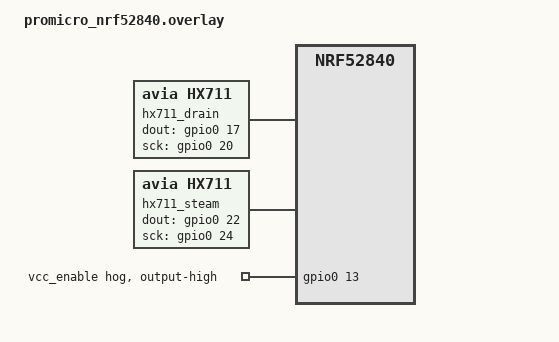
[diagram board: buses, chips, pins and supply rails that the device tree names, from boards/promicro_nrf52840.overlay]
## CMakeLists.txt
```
cmake_minimum_required(VERSION 3.20.0)

set(ZEPHYR_EXTRA_MODULES "${CMAKE_SOURCE_DIR}/modules/HX711")
find_package(Zephyr REQUIRED HINTS $ENV{ZEPHYR_BASE})

project(ncs-scale)

target_sources(app PRIVATE
    src/main.c
    src/channels.c
    src/weight.c
    src/bluetooth.c
    src/bluetooth_protocol.c
)

if(CONFIG_DISPLAY)
    target_sources(app PRIVATE src/display.c)
endif()

target_include_directories(app PRIVATE
    include
)
```

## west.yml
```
manifest:
  projects:
    - name: HX711
      path: modules/HX711
      revision: refs/tags/zephyr-v3.2.0
      url: https://github.com/nobodyguy/HX711_zephyr_driver
```

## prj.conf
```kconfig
# Enable logging
CONFIG_LOG=y
CONFIG_LOG_MODE_MINIMAL=y

# ZBUS Configuration
CONFIG_MAIN_THREAD_PRIORITY=5
CONFIG_ZBUS=y
CONFIG_ZBUS_LOG_LEVEL_INF=y
CONFIG_ZBUS_CHANNEL_NAME=y
CONFIG_ZBUS_OBSERVER_NAME=y
CONFIG_ZBUS_RUNTIME_OBSERVERS=y


# Scale (HX711) configuration
CONFIG_SENSOR=y
CONFIG_HX711=y

# Bluetooth configuration
CONFIG_BT=y
CONFIG_BT_PERIPHERAL=y
CONFIG_BT_CTLR_TX_PWR_PLUS_4=y # Increase TX power for better range
CONFIG_BT_DEVICE_NAME="Varia AKU DIY"


# Display configuration
CONFIG_DISPLAY=n
CONFIG_CHARACTER_FRAMEBUFFER=n
```

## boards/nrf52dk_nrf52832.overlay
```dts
// To get started, press Ctrl+Space to bring up the completion menu and view the available nodes.

// You can also use the buttons in the sidebar to perform actions on nodes.
// Actions currently available include:

// * Enabling / disabling the node
// * Adding the bus to a bus
// * Removing the node
// * Connecting ADC channels

// For more help, browse the DeviceTree documentation at https://docs.zephyrproject.org/latest/guides/dts/index.html
// You can also visit the nRF DeviceTree extension documentation at https://docs.nordicsemi.com/bundle/nrf-connect-vscode/page/guides/ncs_configure_app.html#devicetree-support-in-the-extension

/{
	hx711_left: hx711-left {
		compatible = "avia,hx711";
		status = "okay";
		dout-gpios = <&gpio0 24 (GPIO_ACTIVE_HIGH | GPIO_PULL_UP) >;
		sck-gpios = <&gpio0 25 GPIO_ACTIVE_HIGH>;
		//rate-gpios = <&gpio0 2 GPIO_ACTIVE_HIGH>;
	};

	hx711_right: hx711-right {
		compatible = "avia,hx711";
		status = "okay";
		dout-gpios = <&gpio0 26 (GPIO_ACTIVE_HIGH | GPIO_PULL_UP) >;
		sck-gpios = <&gpio0 27 GPIO_ACTIVE_HIGH>;
	};
};
```

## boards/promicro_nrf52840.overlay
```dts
/ {
	hx711_drain: hx711-drain {
		compatible = "avia,hx711";
		status = "okay";
		dout-gpios = <&gpio0 17 (GPIO_ACTIVE_HIGH | GPIO_PULL_UP)>;
		sck-gpios = <&gpio0 20 GPIO_ACTIVE_HIGH>;
	};

	hx711_steam: hx711-steam {
		compatible = "avia,hx711";
		status = "okay";
		dout-gpios = <&gpio0 22 (GPIO_ACTIVE_HIGH | GPIO_PULL_UP)>;
		sck-gpios = <&gpio0 24 GPIO_ACTIVE_HIGH>;
	};
};

&gpio0 { /* To enable vcc, P0.13 has to be set high */
    status = "okay";

    vcc_enable {
        gpio-hog;
        gpios = <13 GPIO_ACTIVE_HIGH>;
        output-high;                   /* Forces the pin high on boot */
    };
};
```

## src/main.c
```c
#include <zephyr/kernel.h>

#include "channels.h"
#include "bluetooth.h"
#if defined(CONFIG_DISPLAY)
#include "display.h"
#endif

#define LOG_MODULE_NAME main
#include <zephyr/logging/log.h>
LOG_MODULE_REGISTER(main, CONFIG_LOG_DEFAULT_LEVEL);

static void log_uptime(void);

int main(void)
{
        // weight thread starts itself
        zbus_print_channels_and_observers();
        bt_init();
#if defined(CONFIG_DISPLAY)
        display_init();
#endif

        while (1) {
                log_uptime();
                k_msleep(10000); 
        }

	return 0;
}

static void log_uptime(void)
{
        int64_t uptime_ms = k_uptime_get();

        // Convert milliseconds to seconds, minutes, and hours
        uint32_t seconds = uptime_ms / 1000U;
        uint32_t minutes = seconds / 60U;
        uint32_t hours = minutes / 60U;
        
        // Format the log message as HH:MM:SS
        LOG_DBG("Uptime: %02d:%02d:%02d", 
                hours, 
                minutes % 60U, // Minutes remainder
                seconds % 60U  // Seconds remainder
        );
}
```

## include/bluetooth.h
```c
#ifndef BLUETOOTH_H
#define BLUETOOTH_H

#include <zephyr/kernel.h>

int bt_init(void);

#endif // BLUETOOTH_H
```

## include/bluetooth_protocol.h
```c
#ifndef BLUETOOTH_PROTOCOL_H
#define BLUETOOTH_PROTOCOL_H

#include <stdbool.h>
#include <stdint.h>
#include <zephyr/bluetooth/uuid.h>

/* Varia AKU service and characteristic UUIDs. */
#define SCALE_SERVICE_UUID            0xFFF0
#define SCALE_WEIGHT_CHAR_UUID        0xFFF1
#define SCALE_COMMAND_CHAR_UUID       0xFFF2

/* Packet identifiers and fixed sizes used by the Varia-compatible protocol. */
#define SCALE_SYSTEM_MESSAGE_ID       0xFAU
#define SCALE_WEIGHT_MESSAGE_ID       0x01U
#define SCALE_TARE_MESSAGE_ID         0x82U
#define SCALE_WEIGHT_FRAME_LEN        7U
#define SCALE_TARE_PACKET_LEN         5U

void scale_protocol_encode_weight_frame(uint8_t frame[SCALE_WEIGHT_FRAME_LEN], int32_t weight_cg);
void scale_protocol_encode_tare_command(uint8_t packet[SCALE_TARE_PACKET_LEN]);

#endif // BLUETOOTH_PROTOCOL_H
```

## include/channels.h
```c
#ifndef SMART_SCALE_CHANNELS_H
#define SMART_SCALE_CHANNELS_H

#include <zephyr/kernel.h>
#include <zephyr/zbus/zbus.h>


// Message Struct Definitions (What data is transferred)
struct weight_msg {
    int32_t weight_cg;
};

struct button_msg {
    bool tare_request;
};

// Channel Declarations (Allow other files to use the channel)
extern const struct zbus_channel weight_channel;
extern const struct zbus_channel button_channel;

// Logging
void zbus_print_channels_and_observers(void);

#endif // SMART_SCALE_CHANNELS_H
```

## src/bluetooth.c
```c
#include <zephyr/kernel.h>

/* ZBUS*/
#include <zephyr/zbus/zbus.h>
#include "channels.h"

ZBUS_SUBSCRIBER_DEFINE(bluetooth_sub, 4);

/* LOGGING */
#include <zephyr/logging/log.h>

#define LOG_MODULE_NAME bluetooth
LOG_MODULE_REGISTER(bluetooth, CONFIG_LOG_DEFAULT_LEVEL);

/* BLUETOOTH */
#include <zephyr/bluetooth/bluetooth.h>
#include <zephyr/bluetooth/conn.h>
#include <zephyr/bluetooth/gatt.h>
#include <zephyr/bluetooth/hci.h>
#include <zephyr/bluetooth/uuid.h>
#include "bluetooth_protocol.h"

#include <string.h>

#define BLE_TX_DEBUG_LOG_INTERVAL_MS    5000

/* Advertising parameters for a single connectable central. */
#define ADV_PARAM BT_LE_ADV_PARAM(BT_LE_ADV_OPT_CONN | BT_LE_ADV_OPT_USE_IDENTITY, \
				  BT_GAP_ADV_FAST_INT_MIN_2, \
				  BT_GAP_ADV_FAST_INT_MAX_2, NULL)

/* Varia-compatible UUIDs exposed by this scale implementation. */
static struct bt_uuid_16 scale_service_uuid = BT_UUID_INIT_16(SCALE_SERVICE_UUID);
static struct bt_uuid_16 scale_weight_char_uuid = BT_UUID_INIT_16(SCALE_WEIGHT_CHAR_UUID);
static struct bt_uuid_16 scale_command_char_uuid = BT_UUID_INIT_16(SCALE_COMMAND_CHAR_UUID);

/* Runtime state for the active BLE session. */
static bool weight_stream_enabled;
static struct bt_conn *active_conn;

/* Cached payload for the current weight notification. */
static uint8_t weight_frame[SCALE_WEIGHT_FRAME_LEN] = {
	SCALE_SYSTEM_MESSAGE_ID,
	0x00, 0x00, 0x00, 0x00,
	0x00, 0x00,
};
/* Pre-encoded Varia tare packet used for byte-exact command matching. */
static uint8_t tare_command[SCALE_TARE_PACKET_LEN];

/* GATT callback: weight streaming is enabled when the client subscribes for notifications. */
static void ccc_cfg_changed(const struct bt_gatt_attr *attr, uint16_t value)
{
	ARG_UNUSED(attr);

	weight_stream_enabled = (value & BT_GATT_CCC_NOTIFY) != 0U;

	LOG_INF("Weight stream %s (notify)",
		weight_stream_enabled ? "enabled" : "disabled");
}

/* GATT callback: tare requests are forwarded onto zbus instead of touching the sensor directly. */
static ssize_t cmd_write_cb(struct bt_conn *conn,
				   const struct bt_gatt_attr *attr,
				   const void *buf,
				   uint16_t len,
				   uint16_t offset,
				   uint8_t flags)
{
	ARG_UNUSED(conn);
	ARG_UNUSED(attr);
	ARG_UNUSED(offset);
	ARG_UNUSED(flags);

	if (len != SCALE_TARE_PACKET_LEN) {
		return BT_GATT_ERR(BT_ATT_ERR_INVALID_ATTRIBUTE_LEN);
	}

	const uint8_t *command = buf;

	/* Varia clients send a fixed 5-byte tare packet on FFF2. */
	if (memcmp(command, tare_command, SCALE_TARE_PACKET_LEN) == 0) {
		struct button_msg msg = {
			.tare_request = true,
		};

		int err = zbus_chan_pub(&button_channel, &msg, K_NO_WAIT);
		if (err) {
			LOG_ERR("Failed to publish tare request (err %d)", err);
			return BT_GATT_ERR(BT_ATT_ERR_UNLIKELY);
		}

		LOG_INF("Received tare command");
	} else {
		LOG_WRN("Unsupported command byte 0x%02x", command[0]);
	}

	return len;
}

/* GATT service layout: one weight stream characteristic and one command characteristic. */
BT_GATT_SERVICE_DEFINE(weight_svc,
	BT_GATT_PRIMARY_SERVICE(&scale_service_uuid),
	BT_GATT_CHARACTERISTIC(&scale_weight_char_uuid.uuid,
		BT_GATT_CHRC_NOTIFY,
		BT_GATT_PERM_NONE,
		NULL, NULL, weight_frame),
	BT_GATT_CCC(ccc_cfg_changed, BT_GATT_PERM_READ | BT_GATT_PERM_WRITE),
	BT_GATT_CHARACTERISTIC(&scale_command_char_uuid.uuid,
		BT_GATT_CHRC_WRITE | BT_GATT_CHRC_WRITE_WITHOUT_RESP,
		BT_GATT_PERM_WRITE,
		NULL, cmd_write_cb, NULL)
);

/* Advertising payload: name + service UUID so the client can discover and classify this scale. */
static struct bt_data ad[] = {
	BT_DATA_BYTES(BT_DATA_FLAGS, BT_LE_AD_GENERAL | BT_LE_AD_NO_BREDR),
	BT_DATA(BT_DATA_NAME_COMPLETE, CONFIG_BT_DEVICE_NAME, sizeof(CONFIG_BT_DEVICE_NAME) - 1),
	BT_DATA_BYTES(BT_DATA_UUID16_ALL, BT_UUID_16_ENCODE(SCALE_SERVICE_UUID))
};

static bool adv_restart_pending;

/* Advertising must be restarted after disconnect because connectable advertising stops on connect. */
static void try_start_advertising(void)
{
	int err = bt_le_adv_start(ADV_PARAM, ad, ARRAY_SIZE(ad), NULL, 0);

	if (err == -EALREADY) {
		adv_restart_pending = false;
		return;
	}

	if (err == -ENOMEM) {
		/* No free connection objects yet; retry from recycled callback. */
		adv_restart_pending = true;
		LOG_WRN("Advertising restart deferred (no free conn objects)");
		return;
	}

	if (err) {
		adv_restart_pending = true;
		LOG_ERR("Advertising failed to start (err %d)", err);
		return;
	}

	adv_restart_pending = false;
	LOG_INF("Advertising started");
}

/* Connection lifecycle callbacks keep track of the single active central connection. */
static void connected_cb(struct bt_conn *conn, uint8_t err)
{
	if (err) {
		LOG_WRN("Connection failed (err 0x%02x)", err);
		return;
	}

	if (active_conn != NULL) {
		bt_conn_unref(active_conn);
	}

	active_conn = bt_conn_ref(conn);

	LOG_INF("Central connected");
}

static void disconnected_cb(struct bt_conn *conn, uint8_t reason)
{
	if (active_conn == conn) {
		bt_conn_unref(active_conn);
		active_conn = NULL;
	}

	LOG_INF("Central disconnected (reason 0x%02x)", reason);
	adv_restart_pending = true;
	try_start_advertising();
}

/* Retry advertising when the Bluetooth stack recycles the connection object. */
static void recycled_cb(void)
{
	if (adv_restart_pending) {
		try_start_advertising();
	}
}

BT_CONN_CB_DEFINE(bt_conn_callbacks) = {
	.connected = connected_cb,
	.disconnected = disconnected_cb,
	.recycled = recycled_cb,
};

/* Bluetooth stack initialization and one-time wiring. */
static void bt_ready(int err)
{
	if (err) {
		LOG_ERR("Bluetooth init failed (err %d)", err);
		return;
	}

	LOG_INF("Bluetooth initialized");

	/* Start advertising */
	try_start_advertising();
	scale_protocol_encode_tare_command(tare_command);

	/* Now start listening for weight updates */
	zbus_chan_add_obs(&weight_channel, &bluetooth_sub, K_NO_WAIT);
}

/* Optional external antenna support kept here for later board-specific use. */
/*
#define RFSW_REGULATOR_NODE DT_NODELABEL(rfsw_ctl)
static const struct gpio_dt_spec rfsw_gpio = {
    .port = DEVICE_DT_GET(DT_GPIO_CTLR(RFSW_REGULATOR_NODE, enable_gpios)),
    .pin = DT_GPIO_PIN(RFSW_REGULATOR_NODE, enable_gpios),
    .dt_flags = DT_GPIO_FLAGS(RFSW_REGULATOR_NODE, enable_gpios),
};
*/

int bt_init(void)
{

    /*
    // Configure antenna switch
    if (!gpio_is_ready_dt(&rfsw_gpio)) {
        LOG_ERR("RF switch GPIO not ready");
    } else {
        ret = gpio_pin_configure_dt(&rfsw_gpio, GPIO_OUTPUT_INACTIVE);
        if (ret == 0) {
            // Set to 0 for external antenna (physical HIGH due to active-low)
            gpio_pin_set_dt(&rfsw_gpio, 0);
            LOG_INF("External antenna enabled");
        }
    }
    */

	/* Initialize the Bluetooth subsystem. */
	int err = bt_enable(bt_ready);
	if (err) {
		LOG_ERR("Bluetooth init failed (err %d)", err);
		return -1;
	}

	return 0;
}

/* zbus subscriber thread: encode current weight and push it over the active BLE notify stream. */
static void subscriber_task(void)
{
	const struct zbus_channel *chan;
	uint32_t tx_ok_count = 0U;
	uint32_t tx_fail_count = 0U;
	int64_t last_tx_log_ms = 0;

	while (!zbus_sub_wait(&bluetooth_sub, &chan, K_FOREVER)) {

		if (&weight_channel == chan) {
			struct weight_msg msg;

			zbus_chan_read(&weight_channel, &msg, K_MSEC(500));

			scale_protocol_encode_weight_frame(weight_frame, msg.weight_cg);

			if (weight_stream_enabled && active_conn != NULL) {
				int err;

				err = bt_gatt_notify(active_conn, &weight_svc.attrs[2],
						     weight_frame, sizeof(weight_frame));
				if (err) {
					tx_fail_count++;
					LOG_ERR("Failed to notify weight (err %d)", err);
				} else {
					tx_ok_count++;
				}

				int64_t now_ms = k_uptime_get();
				if ((now_ms - last_tx_log_ms) >= BLE_TX_DEBUG_LOG_INTERVAL_MS) {
					LOG_DBG("BLE TX mode=notify hdr=%02x weight_cg=%u frame=[%02x %02x %02x %02x] ok=%u fail=%u",
						weight_frame[0],
						msg.weight_cg < 0 ? 0 : (uint32_t)msg.weight_cg,
						weight_frame[3],
						weight_frame[4],
						weight_frame[5],
						weight_frame[6],
						tx_ok_count,
						tx_fail_count);
					last_tx_log_ms = now_ms;
				}
			}
		}
	}
}

K_THREAD_DEFINE(subscriber_bt_id, CONFIG_MAIN_STACK_SIZE, subscriber_task, NULL, NULL, NULL, 5, 0, 0);
```

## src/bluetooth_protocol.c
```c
#include "bluetooth_protocol.h"

bool scale_protocol_is_stream_start_request(const uint8_t *request, uint16_t len)
{
	return (request != NULL) &&
	       (len == SCALE_START_REQUEST_LEN) &&
	       (request[0] == 0x02U) &&
	       (request[1] == 0x00U);
}

bool scale_protocol_is_heartbeat_request(const uint8_t *request, uint16_t len)
{
	return (request != NULL) &&
	       (len == SCALE_HEARTBEAT_LEN) &&
	       (request[0] == 0x00U);
}

bool scale_protocol_is_tare_command(const uint8_t *command, uint16_t len)
{
	return (command != NULL) &&
	       (len == SCALE_TARE_COMMAND_LEN) &&
	       (command[0] == SCALE_TARE_COMMAND_BYTE);
}

void scale_protocol_encode_weight_frame(uint8_t frame[9], int32_t weight_dg)
{
	uint32_t encoded_weight_dg;

	if (frame == NULL) {
		return;
	}

	encoded_weight_dg = weight_dg < 0 ? 0U : (uint32_t)weight_dg;

	/* Frame format: [event][dripper_le32][scale_le32]. */
	frame[0] = SCALE_WEIGHT_EVENT_ID;
	frame[1] = 0x00U;
	frame[2] = 0x00U;
	frame[3] = 0x00U;
	frame[4] = 0x00U;
	frame[5] = (uint8_t)(encoded_weight_dg & 0xffU);
	frame[6] = (uint8_t)((encoded_weight_dg >> 8) & 0xffU);
	frame[7] = (uint8_t)((encoded_weight_dg >> 16) & 0xffU);
	frame[8] = (uint8_t)((encoded_weight_dg >> 24) & 0xffU);
}
```

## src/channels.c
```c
#include <zephyr/kernel.h>
#include <zephyr/logging/log.h>
#include <zephyr/zbus/zbus.h>

#include "channels.h"

LOG_MODULE_DECLARE(zbus, CONFIG_ZBUS_LOG_LEVEL);

ZBUS_CHAN_DEFINE(weight_channel,      /* Name */
		 struct weight_msg,           /* Message type */

		 NULL,                        /* Validator */
		 NULL,                        /* User data */
		 ZBUS_OBSERVERS_EMPTY,        /* Observers */
		 ZBUS_MSG_INIT(.weight_cg = 0) /* Initial value */
);

ZBUS_CHAN_DEFINE(button_channel,              /* Name */
		 struct button_msg,                   /* Message type */

		 NULL,                                /* Validator */
		 NULL,                                /* User data */
		 ZBUS_OBSERVERS_EMPTY,                /* Observers */
		 ZBUS_MSG_INIT(.tare_request = false) /* Initial value */
);


static bool print_channel_data_iterator(const struct zbus_channel *chan, void *user_data)
{
	int *count = user_data;

	LOG_DBG("%d - Channel %s:", *count, zbus_chan_name(chan));
	LOG_DBG("      Message size: %d", zbus_chan_msg_size(chan));
	LOG_DBG("      Observers:");

	++(*count);

	struct zbus_channel_observation *observation;

	for (int16_t i = chan->data->observers_start_idx, limit = chan->data->observers_end_idx;
	     i < limit; ++i) {
		STRUCT_SECTION_GET(zbus_channel_observation, i, &observation);

		__ASSERT(observation != NULL, "observation must be not NULL");

		LOG_DBG("      - %s", observation->obs->name);
	}

	struct zbus_observer_node *obs_nd, *tmp;

	SYS_SLIST_FOR_EACH_CONTAINER_SAFE(&chan->data->observers, obs_nd, tmp, node) {
		LOG_DBG("      - %s", obs_nd->obs->name);
	}

	return true;
}

static bool print_observer_data_iterator(const struct zbus_observer *obs, void *user_data)
{
	int *count = user_data;

	LOG_DBG("%d - %s %s", *count,
		obs->type == ZBUS_OBSERVER_LISTENER_TYPE ? "Listener" : "Subscriber",
		zbus_obs_name(obs));

	++(*count);

	return true;
}


void zbus_print_channels_and_observers(void)
{
    LOG_DBG("--- ZBUS CHANNEL and OBSERVER DUMP ---");
	int count = 0;

	LOG_DBG("Channel list:");
	zbus_iterate_over_channels_with_user_data(print_channel_data_iterator, &count);

	count = 0;

	LOG_DBG("Observers list:");
	zbus_iterate_over_observers_with_user_data(print_observer_data_iterator, &count);

    LOG_DBG("--- DUMP COMPLETE ---");
}
```

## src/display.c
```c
#include <zephyr/kernel.h>

/* ZBUS*/
#include <zephyr/zbus/zbus.h>
#include "channels.h"

ZBUS_SUBSCRIBER_DEFINE(display_sub, 4);

/* LOGGING */
#include <zephyr/logging/log.h>

#define LOG_MODULE_NAME display
LOG_MODULE_REGISTER(display, CONFIG_LOG_DEFAULT_LEVEL);

/* DISPLAY*/
#include <zephyr/device.h>
#include <zephyr/drivers/display.h>
#include <zephyr/display/cfb.h>


static const struct device *display;

// 8x8 icon definitions (1 = white pixel)
static const uint8_t icon_bluetooth[] = {
    0b00010000,
    0b00110000,
    0b01010100,
    0b00111000,
    0b00111000,
    0b01010100,
    0b00110000,
    0b00010000,
};

static const uint8_t icon_wifi[] = {
    0b00000000,
    0b01111110,
    0b10000001,
    0b00111100,
    0b01000010,
    0b00011000,
    0b00100100,
    0b00000000,
};

static const uint8_t icon_battery_full[] = {
    0b00111111,
    0b00100001,
    0b01111101,
    0b01111101,
    0b01111101,
    0b01111101,
    0b00100001,
    0b00111111,
};

static const uint8_t icon_battery_low[] = {
    0b00111111,
    0b00100001,
    0b01100001,
    0b01100001,
    0b01100001,
    0b01100001,
    0b00100001,
    0b00111111,
};

void draw_icon(const struct device *display, const uint8_t *icon, uint16_t x_start, uint16_t y_start)
{
	// Iterate over the 8 rows (y-axis)
	for (int y = 0; y < 8; y++) {
		// The icon data is one byte per row
		uint8_t row_data = icon[y];

		// Iterate over the 8 columns (x-axis)
		for (int x = 0; x < 8; x++) {
			// Check if the pixel bit is set (from MSB to LSB: bit 7 to bit 0)
			if (row_data & (0b10000000 >> x)) {
				// Draw a point at the calculated screen coordinates
				struct cfb_position pos;
				pos.x = x_start + x;
				pos.y = y_start + y;
				cfb_draw_point(display, &pos);
			}
		}
	}
}

void display_weight(const struct device *display, int32_t weight_cg,
                   bool bt_connected, bool wifi_connected, uint8_t battery_pct)
{
    char weight_str[16];
    bool negative = weight_cg < 0;
    int32_t abs_weight_cg = negative ? -weight_cg : weight_cg;
    
    // Clear display
    cfb_framebuffer_clear(display, false);
    
    // Display weight in large text (center of screen)
    snprintf(weight_str, sizeof(weight_str), "%s%ld.%02ld",
             negative ? "-" : "",
             (long)(abs_weight_cg / 100),
             (long)(abs_weight_cg % 100));
    cfb_print(display, weight_str, 0, 0);
    
    // Draw status icons at top right
    uint16_t icon_x = 128 - 8;  // Start from right edge
    
    // Battery icon
    if (battery_pct > 20) {
        draw_icon(display, icon_battery_full, icon_x, 0);
    } else {
        draw_icon(display, icon_battery_low, icon_x, 0);
    }
    icon_x -= 12;  // Space between icons
    
    // WiFi icon
    if (wifi_connected) {
        draw_icon(display, icon_wifi, icon_x, 0);
        icon_x -= 12;
    }
    
    // Bluetooth icon
    if (bt_connected) {
        draw_icon(display, icon_bluetooth, icon_x, 0);
    }
    
    cfb_framebuffer_finalize(display);
}


int display_init(void) {

	display = DEVICE_DT_GET(DT_CHOSEN(zephyr_display));
    
    if (!device_is_ready(display)) {
        LOG_ERR("Display not ready");
        return 0;
    }
    
    display_blanking_off(display);
    
    // Initialize CFB
    if (cfb_framebuffer_init(display)) {
        LOG_ERR("CFB init failed");
        return 0;
    }
    
    cfb_framebuffer_set_font(display, 2); // Use font index 2 (larger font)
	cfb_framebuffer_invert(display);

	/* Now start listening for weight updates */
	zbus_chan_add_obs(&weight_channel, &display_sub, K_NO_WAIT);

    return 0;
}

/* ZBUS SUBSCRIBER*/
static void subscriber_task(void)
{
	const struct zbus_channel *chan;

	while (!zbus_sub_wait(&display_sub, &chan, K_FOREVER)) {

		if (&weight_channel == chan) {
			struct weight_msg msg;

			zbus_chan_read(&weight_channel, &msg, K_MSEC(500));

			bool bt_conn = true;
			bool wifi_conn = false;
			uint8_t batt = 85;

            display_weight(display, msg.weight_cg, bt_conn, wifi_conn, batt);

		}
	}
}

K_THREAD_DEFINE(subscriber_display_id, CONFIG_MAIN_STACK_SIZE, subscriber_task, NULL, NULL, NULL, 5, 0, 0);
```

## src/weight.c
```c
#include "channels.h"
#include <zephyr/kernel.h>
#include <zephyr/zbus/zbus.h>

ZBUS_SUBSCRIBER_DEFINE(weight_cmd_sub, 4);

#define LOG_MODULE_NAME weight
#include <zephyr/logging/log.h>
LOG_MODULE_REGISTER(weight, CONFIG_LOG_DEFAULT_LEVEL);

#include <zephyr/device.h>
#include <zephyr/devicetree.h>
#include <zephyr/drivers/sensor.h>
#include <zephyr/sys/util.h>
#include <zephyr/types.h>

#include <sensor/hx711/hx711.h>
#include <stddef.h>

// Define the thread stack and object
#define WEIGHT_THREAD_STACK_SIZE 1024
#define WEIGHT_THREAD_SLEEP_MS 100 
#define WEIGHT_DEBUG_LOG_INTERVAL_MS 5000
#define HX711_COUNT 2


// SCALE
static const struct device *hx711_devices[HX711_COUNT];

static int32_t weight_sensor_value_to_centi_grams(const struct sensor_value *weight)
{
    if (weight == NULL) {
        return 0;
    }

    return (weight->val1 * 100) + (weight->val2 / 10000);
}

void weight_thread_entry(void *p1, void *p2, void *p3)
{    
    // 1. Initial setup and calibration (Tare here or during startup)
    hx711_devices[0] = DEVICE_DT_GET(DT_NODELABEL(hx711_drain));
    hx711_devices[1] = DEVICE_DT_GET(DT_NODELABEL(hx711_steam));

    for (int i = 0; i < HX711_COUNT; i++) {
        __ASSERT(hx711_devices[i] != NULL, "Failed to get HX711 device");
        if (!device_is_ready(hx711_devices[i])) {
            LOG_ERR("HX711 device %d is not ready", i);
            return;
        }
        LOG_INF("HX711 %d is %p, name is %s", i, hx711_devices[i], hx711_devices[i]->name);
    }

    // Let the HX711 settle? Seems to be necessary for successful tare
	k_msleep(100);

	for (int i = 0; i < HX711_COUNT; i++) {
		int offset = avia_hx711_tare(hx711_devices[i], 10);
		LOG_INF("HX711 %d tare offset: %d", i, offset);
	}

    zbus_chan_add_obs(&button_channel, &weight_cmd_sub, K_NO_WAIT);

	// Calibrate and identify slope using known weight
    //calibrateWKnownWeight(337, 0); // Calibrate HX711 0 (left / drain pipe) with 337g

    // Set slope using known value (from above calibration)
    const struct sensor_value slopes[HX711_COUNT] = {
        { .val1 = 0, .val2 = 399 },
        { .val1 = 0, .val2 = -391 },
    };
	for (int i = 0; i < HX711_COUNT; i++) {
		int slope_ret = sensor_attr_set(hx711_devices[i],
						HX711_SENSOR_CHAN_WEIGHT,
						(enum sensor_attribute)HX711_SENSOR_ATTR_SLOPE,
						&slopes[i]);
		if (slope_ret != 0) {
			LOG_ERR("Failed to set HX711 %d slope: %d", i, slope_ret);
		}
    }
    
    while (1) {
        static int64_t last_weight_log_ms;
        const struct zbus_channel *chan;

        while (!zbus_sub_wait(&weight_cmd_sub, &chan, K_NO_WAIT)) {
            if (&button_channel == chan) {
                struct button_msg btn_msg;
                int rc = zbus_chan_read(&button_channel, &btn_msg, K_NO_WAIT);
                if (rc == 0 && btn_msg.tare_request) {
					for (int i = 0; i < HX711_COUNT; i++) {
						int tare_rc = avia_hx711_tare(hx711_devices[i], 10);
						LOG_INF("BLE tare for HX711 %d, new offset: %d", i, tare_rc);
					}
                }
            }
        }

        // 2. Read the Sensor
        int32_t total_weight_cg = 0;
        int32_t weights_cg[HX711_COUNT];
		int ret = 0;
		bool measurement_valid = true;

		for (int i = 0; i < HX711_COUNT; i++) {
			struct sensor_value weight;
			ret = sensor_sample_fetch(hx711_devices[i]);
			if (ret == 0) {
				ret = sensor_channel_get(hx711_devices[i], HX711_SENSOR_CHAN_WEIGHT, &weight);
			}
			if (ret != 0) {
				LOG_ERR("Cannot read HX711 %d: %d", i, ret);
				measurement_valid = false;
				break;
			}
            weights_cg[i] = weight_sensor_value_to_centi_grams(&weight);
            total_weight_cg += weights_cg[i];
		}

		if (measurement_valid) {

            int64_t now_ms = k_uptime_get();
            if ((now_ms - last_weight_log_ms) >= WEIGHT_DEBUG_LOG_INTERVAL_MS) {
                LOG_INF("Weight samples: HX711 0: %d cg, HX711 1: %d cg, total: %d cg",
                    weights_cg[0], weights_cg[1], total_weight_cg);
                last_weight_log_ms = now_ms;
            }

            // 3. Create the ZBUS message
            struct weight_msg msg = {
                .weight_cg = total_weight_cg
            };

            // 4. Publish the Weight
            ret = zbus_chan_pub(&weight_channel, &msg, K_MSEC(500));
            if (ret != 0) {
                LOG_ERR("Failed to publish weight data: %d", ret);
            }

        }

        // 5. Yield/Sleep
        k_msleep(WEIGHT_THREAD_SLEEP_MS);
    }
}

K_THREAD_DEFINE(weight_thread, WEIGHT_THREAD_STACK_SIZE,
                weight_thread_entry, NULL, NULL, NULL,
                3, 0, 0);


void calibrateWKnownWeight(int calibration_weight, int hx711_index) {
    if (hx711_index < 0 || hx711_index >= HX711_COUNT) {
        LOG_ERR("Invalid HX711 index for calibration: %d", hx711_index);
        return;
    }

	printk("Calibrating...\n");
    printk("Place known weight of %d on HX711 %d...\n",
        calibration_weight, hx711_index);

	for (int i = 5; i >= 0; i--) {
		printk(" %d..", i);
		k_msleep(1000);
	}

	printk("\nNow assuming that the weight was placed and calculating slope...\n");
	struct sensor_value slope = avia_hx711_calibrate(hx711_devices[hx711_index],
							 calibration_weight, 5);
	printk("HX711 %d slope set to : %d.%06d\n",
	       hx711_index, slope.val1, slope.val2);
}
```
